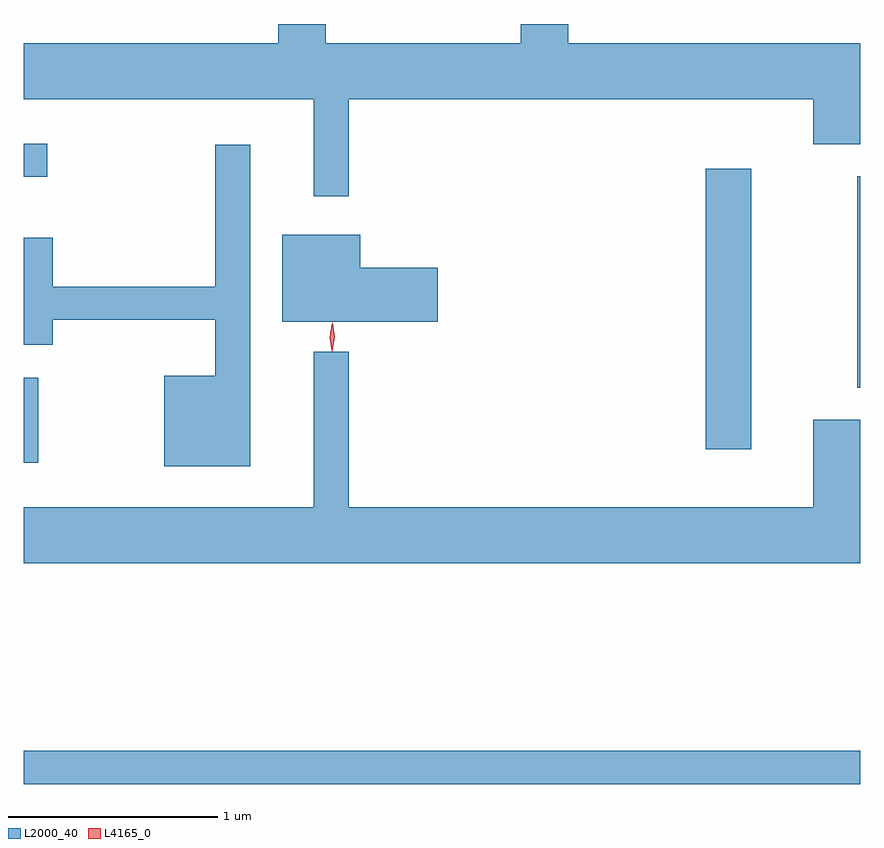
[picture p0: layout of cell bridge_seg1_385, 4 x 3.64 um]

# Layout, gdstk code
import gdstk
lib = gdstk.Library(unit=1e-6, precision=1e-09)
def R(c, l, rs):  # rectangles x0, y0, x1, y1
    for r in rs: c.add(gdstk.rectangle(r[:2], r[2:], *l))
def P(c, l, *ps):  # polygons
    for p in ps: c.add(gdstk.Polygon(p, *l))
L2000_40 = (2000, 40)
L4165_0 = (4165, 0)

bridge_seg1_385 = lib.new_cell('bridge_seg1_385')
R(bridge_seg1_385, L2000_40, [(439.585,962.901,443.585,963.059), (439.585,964.438,439.654,964.844), (442.846,964.501,443.064,965.844), (443.571,964.796,443.585,965.809), (439.585,965.806,439.698,965.964)])
P(bridge_seg1_385, L2000_40, [(441.139,966.176),(443.361,966.176),(443.361,965.961),(443.585,965.961),(443.585,966.444),(442.189,966.444),(442.189,966.536),(441.961,966.536),(441.961,966.444),(441.029,966.444),(441.029,966.536),(440.801,966.536),(440.801,966.444),(439.585,966.444),(439.585,966.176),(440.971,966.176),(440.971,965.713),(441.139,965.713)],
  [(440.669,965.958),(440.501,965.958),(440.501,965.279),(439.724,965.279),(439.724,965.514),(439.585,965.514),(439.585,965.001),(439.724,965.001),(439.724,965.121),(440.501,965.121),(440.501,964.854),(440.256,964.854),(440.256,964.421),(440.669,964.421)],
  [(441.564,965.369),(441.194,965.369),(441.194,965.529),(440.821,965.529),(440.821,965.111),(441.564,965.111)],
  [(443.585,964.644),(443.361,964.644),(443.361,964.224),(441.139,964.224),(441.139,964.968),(440.971,964.968),(440.971,964.224),(439.585,964.224),(439.585,963.956),(443.585,963.956)])
P(bridge_seg1_385, L4165_0, [(441.06,964.97),(441.06,964.97),(441.051,965.038),(441.061,965.105),(441.062,965.106),(441.062,965.105),(441.071,965.038),(441.061,964.97)],
  [(441.058,964.973),(441.057,964.974),(441.048,965.036),(441.057,965.1),(441.058,965.1),(441.058,965.1),(441.068,965.036),(441.058,964.974)])

lib.write_gds('bridge_seg1_385.gds')
